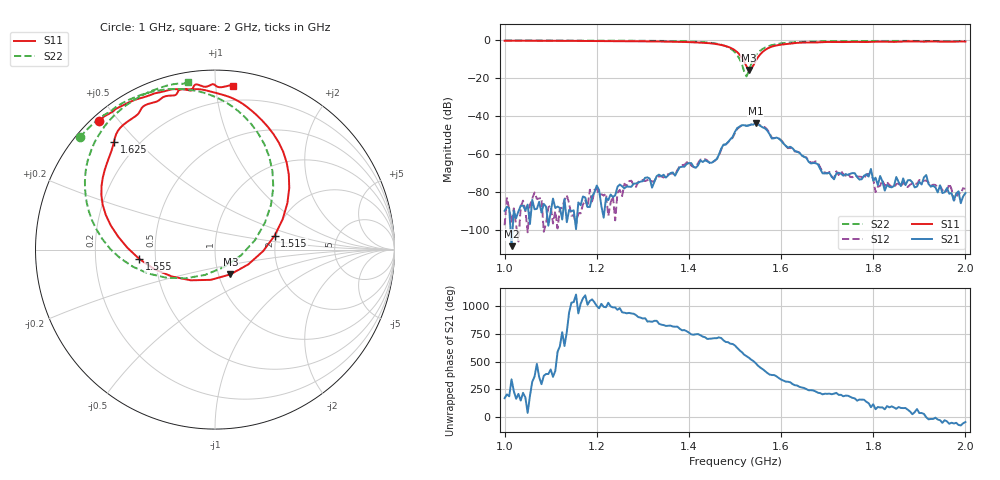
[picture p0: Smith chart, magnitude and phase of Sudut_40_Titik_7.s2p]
# Hz S RI R 50
! CMT, C1220, 16058040, 17.2.0/1
! Date: 14/08/2018 12:12:18
! Data: Format (Calibration Info)
! Freq  S11: Re/Im (F2)  S21: Re/Im (F2)  S12: Re/Im (F2)  S22: Re/Im (F2)
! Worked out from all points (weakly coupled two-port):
!   201 points, 1 GHz to 2 GHz, reference 50 ohm
!   highest |S21| = -43.68 dB at 1.545 GHz (marker M1); lowest = -108.7 dB at 1.015 GHz (marker M2)
!   lowest |S11| = -15.8 dB at 1.53 GHz (marker M3), VSWR 1.39, Z = 57 - j16.1 ohm
!   |S11| at or under -10 dB: 1.517 GHz to 1.547 GHz (30.82 MHz wide, 2.01 % of centre)
!   |S22| runs from -19.2 to -0.2 dB; largest |S21 - S12| = 0.00032
!   S11 on the Smith chart (normalised r, x): 1 GHz: 0.02, +0.44; 1.515 GHz: 1.95, +0.35; 1.555 GHz: 0.41, -0.05; 1.625 GHz: 0.12, +0.43; 2 GHz: 0.10, +1.11
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1e9  -0.6456 0.7147  -3.07e-05 6.23e-06  -9.94e-06 8.39e-06  -0.7533 0.6251
1.015e9  -0.6286 0.7283  3.41e-06 -1.31e-06  -1.53e-05 5.1e-06  -0.7428 0.6367
1.17e9  -0.4752 0.8223  7.4e-05 -1.04e-05  4.21e-05 1.85e-05  -0.6164 0.7508
1.31e9  -0.2487 0.8909  -0.000189 0.000145  -0.000189 7.02e-05  -0.4472 0.8487
1.32e9  -0.2349 0.8937  -9.85e-05 8.16e-05  -0.000143 0.000115  -0.4293 0.8555
1.335e9  -0.2155 0.8937  -0.000154 0.000237  -0.000152 0.000201  -0.4001 0.8656
1.45e9  0.1769 0.796  0.000573 -0.000114  0.000576 -0.000156  0.0249 0.8394
1.5e9  0.4137 0.3429  0.00099 -0.00369  0.000919 -0.00347  0.325 0.3479
1.515e9  0.3322 0.078  -0.00405 -0.00397  -0.00397 -0.00411  0.2237 0.0537
1.53e9  0.0863 -0.1379  -0.00558 0.000477  -0.00565 0.000496  -0.0564 -0.1414
1.545e9  -0.2412 -0.1494  -0.00376 0.00536  -0.00383 0.00524  -0.3724 -0.1333
1.555e9  -0.4213 -0.0526  0.000461 0.00542  0.000205 0.0056  -0.5271 -0.0487
1.625e9  -0.563 0.5993  0.000611 -0.00125  0.000596 -0.00121  -0.7013 0.5205
1.67e9  -0.4426 0.7437  -0.0003 -0.000487  -0.000282 -0.000521  -0.6254 0.6725
1.715e9  -0.3606 0.8149  -0.000185 -0.000105  -0.000176 -0.000149  -0.5508 0.7578
1.795e9  -0.2091 0.8754  2.12e-05 0.000397  -9.87e-05 0.000244  -0.4306 0.8453
1.805e9  -0.1996 0.8896  8.57e-05 0.000218  1.47e-05 9.63e-05  -0.4166 0.8538
1.835e9  -0.1412 0.8865  1.15e-05 0.000134  7.6e-05 0.00013  -0.3761 0.8741
1.89e9  -0.0739 0.9112  9.57e-05 8.78e-05  0.000114 0.000115  -0.298 0.9042
1.915e9  -0.0269 0.916  0.000274 -1.95e-05  0.000198 -4.13e-06  -0.2645 0.9144
1.94e9  0.00117 0.9155  8.71e-05 -4.03e-05  0.000115 -5.92e-05  -0.228 0.922
2e9  0.0977 0.9112  6.2e-05 -6.78e-05  3.05e-05 -0.000114  -0.1519 0.9331
